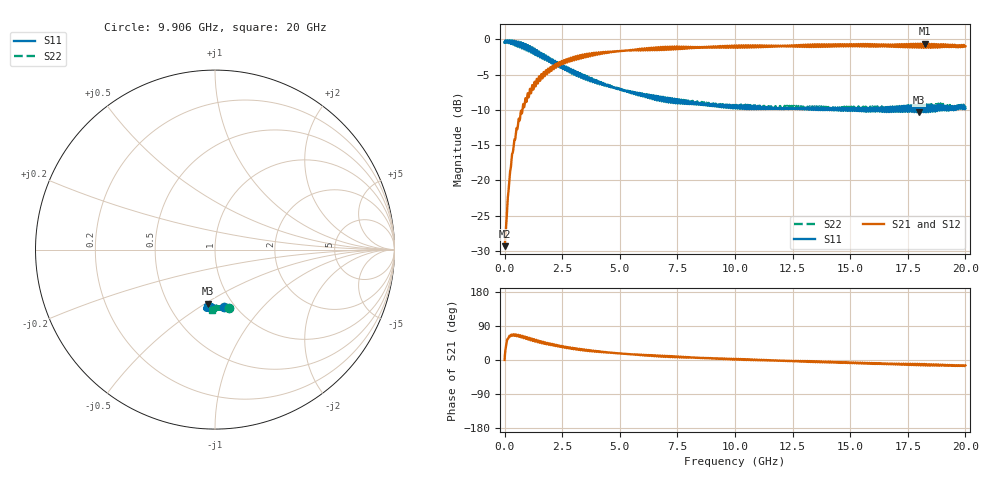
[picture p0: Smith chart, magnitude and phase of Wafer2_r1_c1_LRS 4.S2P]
!  2-Port S-parameters saved by WinCal
! VAR MeasName=S-Parameters (CALIBRATED_DATA) read from VNA (P5004A)
! VAR MeasDate=24/04/2024 17:33:12
! VAR NAME=Wafer2_r1_c1_LRS 4
! VAR FILENAME=Wafer2_r1_c1_LRS 4.S2P
! VAR DATE=24/04/2024 17:33:12
! VAR PHYS_PORTS=1,2
! VAR ObjTypeName=DATASET
! VAR IndexType=Frequency
# Hz S MA R 50
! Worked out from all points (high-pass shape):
!   4999 points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, 4.01 MHz to 20 GHz, reference 50 ohm
!   highest |S21| = -0.61 dB at 18.24 GHz (marker M1); lowest = -29.3 dB at 8.011 MHz (marker M2)
!   |S21| within 3 dB of the highest: 2.351 GHz to 2.42 GHz (69.31 MHz wide, 2.91 % of centre); 2.437 GHz to end of sweep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
!   lowest |S11| = -10.4 dB at 17.98 GHz (marker M3), VSWR 1.87, Z = 38.8 - j25.8 ohm
!   |S11| at or under -10 dB: 15.6707 GHz to 15.72231 GHz (51.61 MHz wide, 0.329 % of centre); 15.77082 GHz to 15.82163 GHz (50.81 MHz wide, 0.322 % of centre); 15.87051 GHz to 15.91933 GHz (48.82 MHz wide, 0.307 % of centre)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
!   |S22| runs from -10.1 to -0.2 dB; largest |S21 - S12| = 0.016
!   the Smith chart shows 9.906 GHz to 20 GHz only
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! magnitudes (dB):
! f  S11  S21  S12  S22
! 4.01 MHz  -0.4  -29.3  -29.2  -0.4
! 8.011 MHz  -0.5  -29.3  -29.2  -0.5
! 76.02 MHz  -0.4  -26.2  -26.2  -0.4
! 164 MHz  -0.4  -21.8  -21.9  -0.4
! 228.1 MHz  -0.2  -19.1  -19.2  -0.2
! 304.1 MHz  -0.4  -17.1  -17.1  -0.4
! 372.1 MHz  -0.7  -15.8  -15.8  -0.7
! 484.1 MHz  -0.7  -13.7  -13.6  -0.7
! 620.1 MHz  -0.4  -11.2  -11.3  -0.4
! 924.2 MHz  -0.9  -8.5  -8.5  -0.9
! 1.28 GHz  -1.6  -6.5  -6.5  -1.6
! 1.78 GHz  -2.4  -4.6  -4.6  -2.4
! 2.432 GHz  -4.0  -3.6  -3.7  -4.0
! 3.341 GHz  -5.3  -2.6  -2.6  -5.3
! 4.797 GHz  -6.9  -1.7  -1.7  -6.8
! 6.673 GHz  -8.1  -1.1  -1.1  -8.1
! 10 GHz  -9.7  -1.1  -1.2  -9.5
! 13.33 GHz  -9.8  -1.0  -1.0  -9.6
! 16.67 GHz  -10.2  -0.9  -0.9  -9.7
! 17.98 GHz  -10.4  -1.2  -1.2  -9.8
! 18.24 GHz  -9.3  -0.6  -0.6  -9.5
! 20 GHz  -9.8  -1.0  -1.0  -9.4
